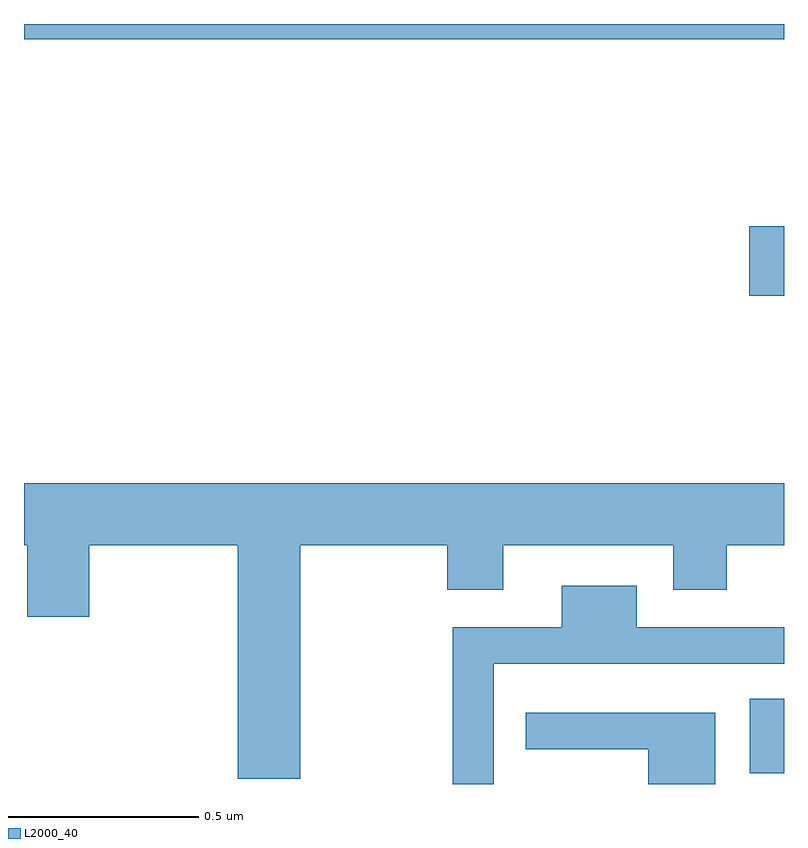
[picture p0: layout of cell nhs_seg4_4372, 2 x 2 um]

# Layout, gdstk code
import gdstk
lib = gdstk.Library(unit=1e-6, precision=1e-09)
def R(c, l, rs):  # rectangles x0, y0, x1, y1
    for r in rs: c.add(gdstk.rectangle(r[:2], r[2:], *l))
def P(c, l, *ps):  # polygons
    for p in ps: c.add(gdstk.Polygon(p, *l))
L2000_40 = (2000, 40)

nhs_seg4_4372 = lib.new_cell('nhs_seg4_4372')
R(nhs_seg4_4372, L2000_40, [(166.91,754.928,167,755.125), (166.908,756.185,167,756.368), (165,756.86,167,756.9)])
P(nhs_seg4_4372, L2000_40, [(165.727,755.528),(166.114,755.528),(166.114,755.411),(166.261,755.411),(166.261,755.528),(166.709,755.528),(166.709,755.411),(166.849,755.411),(166.849,755.528),(167,755.528),(167,755.692),(165,755.692),(165,755.528),(165.008,755.528),(165.008,755.34),(165.172,755.34),(165.172,755.528),(165.563,755.528),(165.563,754.914),(165.727,754.914)],
  [(166.236,755.217),(167,755.217),(167,755.313),(166.612,755.313),(166.612,755.422),(166.415,755.422),(166.415,755.313),(166.128,755.313),(166.128,754.9),(166.236,754.9)],
  [(166.819,755.088),(166.429,755.088),(166.429,755.087),(166.321,755.087),(166.321,754.991),(166.643,754.991),(166.643,754.9),(166.819,754.9)])

lib.write_gds('nhs_seg4_4372.gds')
